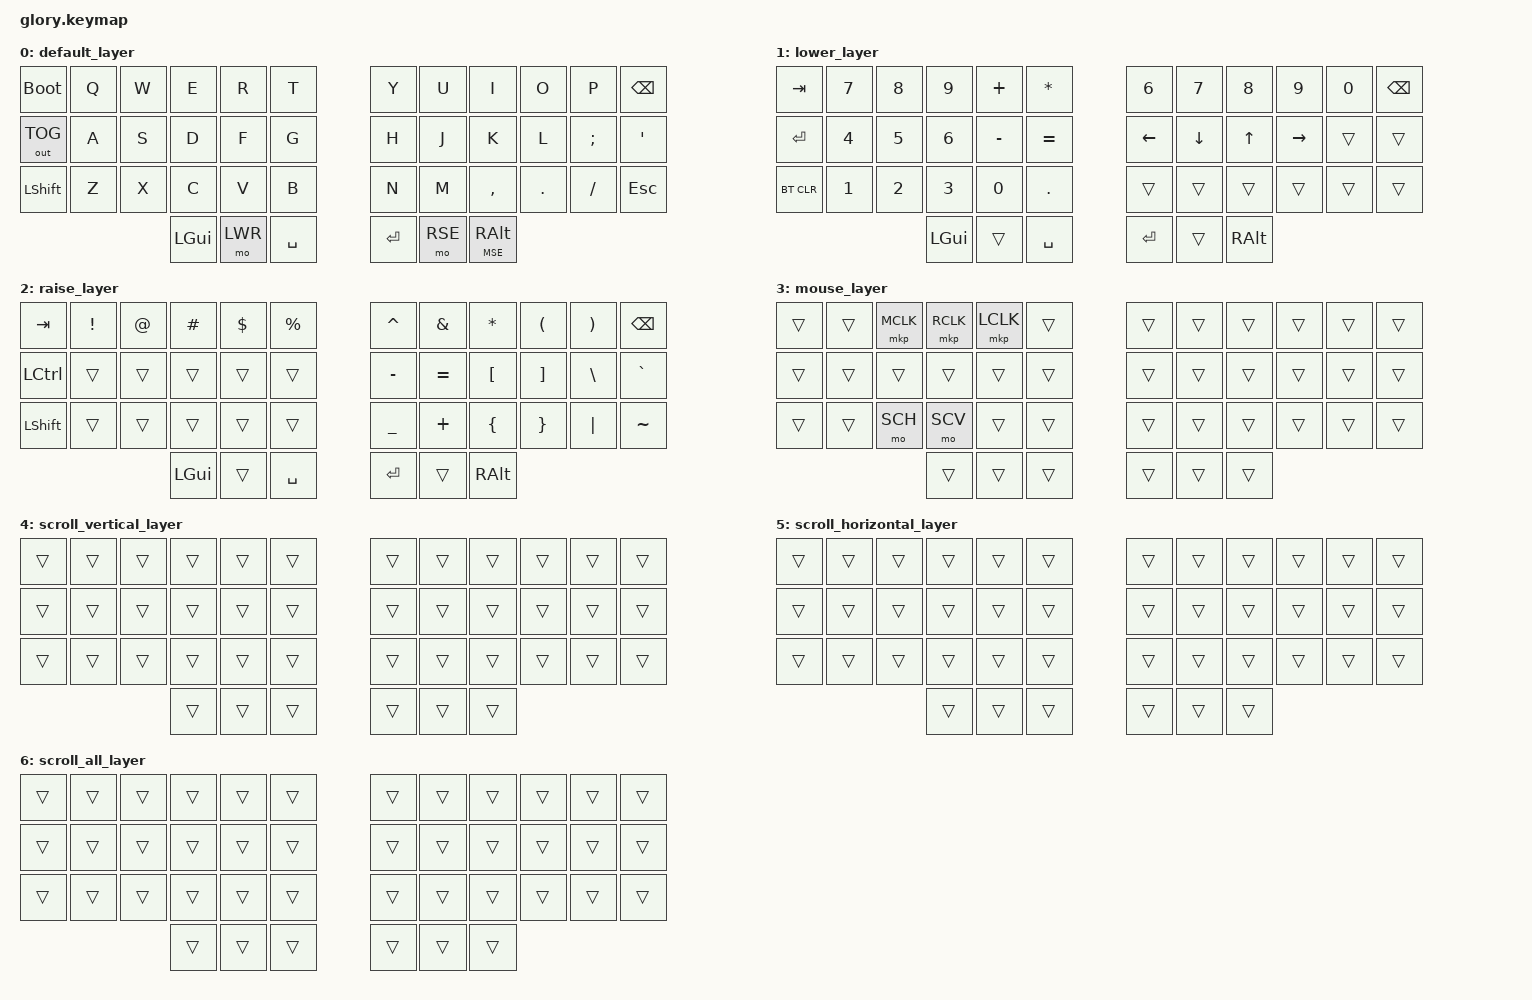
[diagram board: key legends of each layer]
// #include "../../../glory.keymap"

/*
 * Copyright (c) 2020 The ZMK Contributors
 *
 * SPDX-License-Identifier: MIT
 */

#include <behaviors.dtsi>
#include <dt-bindings/zmk/keys.h>
#include <dt-bindings/zmk/bt.h>
#include <dt-bindings/zmk/outputs.h>

/* Pointing (trackball) support */
#include <dt-bindings/zmk/pointing.h>          /* LCLK / RCLK / MCLK, MOVE_*, SCRL_* */
#include <dt-bindings/zmk/input_transform.h>   /* INPUT_TRANSFORM_*_INVERT */
#include <zephyr/dt-bindings/input/input-event-codes.h>
#include <input/processors.dtsi>               /* zip_* stock processors */

/*
 * Layer indices:
 *   0 default
 *   1 lower
 *   2 raise
 *   3 mouse          (mouse buttons + scroll-mode access; hold via &lt 3 on the
 *                      right thumb. Cursor movement itself is always on.)
 *   4 scroll_vertical   (trackball -> vertical wheel)
 *   5 scroll_horizontal (trackball -> horizontal wheel)
 *   6 scroll_all        (both; auto-activated when 4 and 5 are held together)
 */
#define DEF 0
#define LWR 1
#define RSE 2
#define MSE 3
#define SCV 4
#define SCH 5
#define SCA 6

/*
 * Layer-conditional trackball processing. The listener itself lives (and is
 * enabled) on the central half in glory.dtsi / glory_left.overlay. With no
 * override active it just passes X/Y through as cursor movement. On the scroll
 * layers below, the raw X/Y are remapped to wheel events instead.
 *
 * This is the mainline-ZMK equivalent of doxology's zmk,input-behavior-listener
 * blocks: the unwanted axis is routed to REL_MISC (which the HID mouse ignores)
 * to silence it, and zip_scroll_scaler slows the wheel down. Tune the <mult div>
 * on zip_scroll_scaler for scroll speed (larger divisor = slower).
 */
&trackball_listener {
    scroll_vertical {
        layers = <SCV>;
        input-processors =
            <&zip_xy_transform INPUT_TRANSFORM_Y_INVERT>,
            <&scroll_vertical_mapper>,
            <&zip_scroll_scaler 1 20>;
    };

    scroll_horizontal {
        layers = <SCH>;
        input-processors =
            <&scroll_horizontal_mapper>,
            <&zip_scroll_scaler 1 20>;
    };

    scroll_all {
        layers = <SCA>;
        input-processors =
            <&zip_xy_transform INPUT_TRANSFORM_Y_INVERT>,
            <&zip_xy_to_scroll_mapper>,
            <&zip_scroll_scaler 1 20>;
    };
};

/ {
    /* Vertical-only scroll: Y -> wheel, X parked on REL_MISC (silenced). */
    scroll_vertical_mapper: scroll_vertical_mapper {
        compatible = "zmk,input-processor-code-mapper";
        #input-processor-cells = <0>;
        type = <INPUT_EV_REL>;
        map
            = <INPUT_REL_Y INPUT_REL_WHEEL>
            , <INPUT_REL_X INPUT_REL_MISC>
            ;
    };

    /* Horizontal-only scroll: X -> hwheel, Y parked on REL_MISC (silenced). */
    scroll_horizontal_mapper: scroll_horizontal_mapper {
        compatible = "zmk,input-processor-code-mapper";
        #input-processor-cells = <0>;
        type = <INPUT_EV_REL>;
        map
            = <INPUT_REL_X INPUT_REL_HWHEEL>
            , <INPUT_REL_Y INPUT_REL_MISC>
            ;
    };

    conditional_layers {
        compatible = "zmk,conditional-layers";

        /* Holding both scroll layers gives the combined all-directions scroll. */
        scroll_all_cond {
            if-layers = <SCV SCH>;
            then-layer = <SCA>;
        };
    };

    keymap {
        compatible = "zmk,keymap";

        default_layer {
// -----------------------------------------------------------------------------------------
// |  TAB |  Q  |  W  |  E  |  R  |  T  |   |  Y  |  U   |  I  |  O  |  P  | BKSP |
// | CTRL |  A  |  S  |  D  |  F  |  G  |   |  H  |  J   |  K  |  L  |  ;  |  '   |
// | SHFT |  Z  |  X  |  C  |  V  |  B  |   |  N  |  M   |  ,  |  .  |  /  | ESC  |
//                    | GUI | LWR | SPC |   | ENT | RSE  | MSE/ALT |
                        bindings = <
   &bootloader   &kp Q &kp W &kp E &kp R &kp T   &kp Y &kp U  &kp I     &kp O   &kp P    &kp BSPC
   &out OUT_TOG &kp A &kp S &kp D &kp F &kp G   &kp H &kp J  &kp K     &kp L   &kp SEMI &kp SQT
   &kp LSHFT &kp Z &kp X &kp C &kp V &kp B   &kp N &kp M  &kp COMMA &kp DOT &kp FSLH &kp ESC
                  &kp LGUI &mo LWR &kp SPACE   &kp RET &mo RSE &lt MSE RALT
                        >;
                };
                lower_layer {
// -----------------------------------------------------------------------------------------
// |  TAB |  7  |  8  |  9  |  +  |  *  |   |  6  |  7  |  8  |  9  |  0  | BKSP |
// | RET  |  4  |  5  |  6  |  -  |  =  |   | LFT | DWN |  UP | RGT |     |      |
// | BTCLR|  1  |  2  |  3  |  0  |  .  |   |     |     |     |     |     |      |
//                    | GUI |     | SPC |   | ENT |     | ALT |
                        bindings = <
   &kp TAB    &kp N7       &kp N8       &kp N9       &kp PLUS     &kp ASTRK      &kp N6   &kp N7   &kp N8 &kp N9    &kp N0 &kp BSPC
   &kp RET    &kp N4       &kp N5       &kp N6       &kp MINUS    &kp EQUAL      &kp LEFT &kp DOWN &kp UP &kp RIGHT &trans &trans
   &bt BT_CLR &kp N1       &kp N2       &kp N3       &kp N0       &kp DOT        &trans   &trans   &trans &trans    &trans &trans
                                    &kp LGUI     &trans       &kp SPACE      &kp RET  &trans   &kp RALT
                        >;
                };

                raise_layer {
// -----------------------------------------------------------------------------------------
// |  TAB |  !  |  @  |  #  |  $  |  %  |   |  ^  |  &  |  *  |  (  |  )  | BKSP |
// | CTRL |     |     |     |     |     |   |  -  |  =  |  [  |  ]  |  \  |  `   |
// | SHFT |     |     |     |     |     |   |  _  |  +  |  {  |  }  | "|" |  ~   |
//                    | GUI |     | SPC |   | ENT |     | ALT |
                        bindings = <
   &kp  TAB  &kp EXCL &kp AT &kp HASH &kp DLLR &kp PRCNT   &kp CARET &kp AMPS  &kp ASTRK &kp LPAR &kp RPAR &kp BSPC
   &kp LCTRL &trans   &trans &trans   &trans   &trans      &kp MINUS &kp EQUAL &kp LBKT  &kp RBKT &kp BSLH &kp GRAVE
   &kp LSHFT &trans   &trans &trans   &trans   &trans      &kp UNDER &kp PLUS  &kp LBRC  &kp RBRC &kp PIPE &kp TILDE
                             &kp LGUI &trans   &kp SPACE   &kp RET   &trans    &kp RALT
                        >;
                };

                mouse_layer {
// -----------------------------------------------------------------------------------------
// Mouse buttons on the left hand (trackball is on the right); scroll modes on
// the left bottom row. Cursor moves with the trackball as usual.
// |      |     | MCLK| RCLK| LCLK|     |   |     |     |     |     |     |      |
// |      |     |     |     |     |     |   |     |     |     |     |     |      |
// |      |     | SCRH| SCRV|     |     |   |     |     |     |     |     |      |
//                    |     |     |     |   |     |     |     |
                        bindings = <
   &trans &trans &mkp MCLK &mkp RCLK &mkp LCLK &trans   &trans &trans &trans &trans &trans &trans
   &trans &trans &trans    &trans    &trans    &trans   &trans &trans &trans &trans &trans &trans
   &trans &trans &mo SCH   &mo SCV   &trans    &trans   &trans &trans &trans &trans &trans &trans
                           &trans    &trans    &trans   &trans &trans &trans
                        >;
                };

                scroll_vertical_layer {
                        bindings = <
   &trans &trans &trans &trans &trans &trans   &trans &trans &trans &trans &trans &trans
   &trans &trans &trans &trans &trans &trans   &trans &trans &trans &trans &trans &trans
   &trans &trans &trans &trans &trans &trans   &trans &trans &trans &trans &trans &trans
                        &trans &trans &trans   &trans &trans &trans
                        >;
                };

                scroll_horizontal_layer {
                        bindings = <
   &trans &trans &trans &trans &trans &trans   &trans &trans &trans &trans &trans &trans
   &trans &trans &trans &trans &trans &trans   &trans &trans &trans &trans &trans &trans
   &trans &trans &trans &trans &trans &trans   &trans &trans &trans &trans &trans &trans
                        &trans &trans &trans   &trans &trans &trans
                        >;
                };

                scroll_all_layer {
                        bindings = <
   &trans &trans &trans &trans &trans &trans   &trans &trans &trans &trans &trans &trans
   &trans &trans &trans &trans &trans &trans   &trans &trans &trans &trans &trans &trans
   &trans &trans &trans &trans &trans &trans   &trans &trans &trans &trans &trans &trans
                        &trans &trans &trans   &trans &trans &trans
                        >;
                };
        };
};
